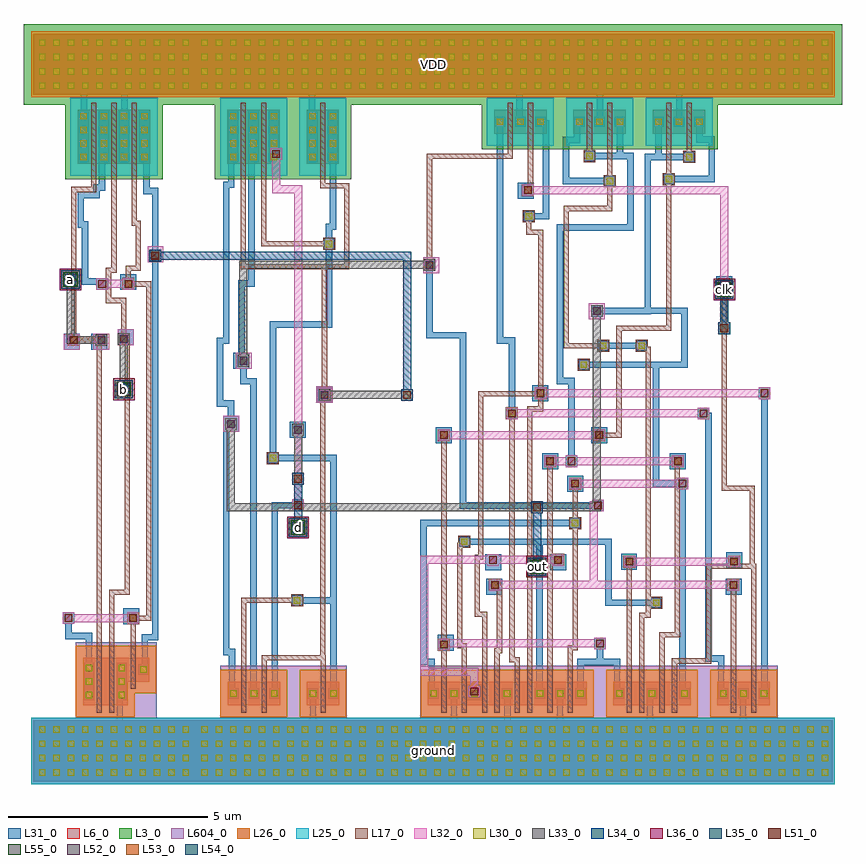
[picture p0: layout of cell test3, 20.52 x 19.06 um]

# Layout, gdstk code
import gdstk
lib = gdstk.Library(unit=1e-6, precision=1e-09)
def R(c, l, rs):  # rectangles x0, y0, x1, y1
    for r in rs: c.add(gdstk.rectangle(r[:2], r[2:], *l))
def A(c, l, x, y, w, h, nx, ny, dx, dy):  # array of equal rectangles
    R(c, l, [(x+i*dx, y+j*dy, x+i*dx+w, y+j*dy+h) for i in range(nx) for j in range(ny)])
def P(c, l, *ps):  # polygons
    for p in ps: c.add(gdstk.Polygon(p, *l))
L3_0 = (3, 0)
L6_0 = (6, 0)
L17_0 = (17, 0)
L25_0 = (25, 0)
L26_0 = (26, 0)
L30_0 = (30, 0)
L31_0 = (31, 0)
L32_0 = (32, 0)
L33_0 = (33, 0)
L34_0 = (34, 0)
L35_0 = (35, 0)
L36_0 = (36, 0)
L51_0 = (51, 0)
L52_0 = (52, 0)
L53_0 = (53, 0)
L54_0 = (54, 0)
L55_0 = (55, 0)
L604_0 = (604, 0)

m2m3 = lib.new_cell('M2M3')
R(m2m3, L32_0, [(-0.145,-0.145,0.145,0.145)])
R(m2m3, L33_0, [(-0.145,-0.145,0.145,0.145)])
R(m2m3, L52_0, [(-0.095,-0.095,0.095,0.095)])

m1m2 = lib.new_cell('M1M2')
R(m1m2, L31_0, [(-0.145,-0.145,0.145,0.145)])
R(m1m2, L32_0, [(-0.145,-0.145,0.145,0.145)])
R(m1m2, L51_0, [(-0.095,-0.095,0.095,0.095)])

poly_m1 = lib.new_cell('POLY_M1')
R(poly_m1, L17_0, [(-0.15,-0.15,0.15,0.15)])
R(poly_m1, L30_0, [(-0.08,-0.08,0.08,0.08)])
R(poly_m1, L31_0, [(-0.13,-0.13,0.13,0.13)])

mux21 = lib.new_cell('Mux21')
R(mux21, L3_0, [(-1.815,108.335,1.605,110.465), (-2.605,110.205,2.415,112.225)])
R(mux21, L6_0, [(-2.365,93.225,2.175,94.765), (-1.495,95.135,-0.175,95.735), (0.495,95.135,1.305,95.735), (-1.505,108.725,-0.185,110.075), (0.485,108.725,1.295,110.075), (-2.365,110.445,2.175,111.985)])
R(mux21, L17_0, [(-1.155,94.955,-1.025,95.135), (-0.645,94.955,-0.515,95.135), (0.835,94.955,0.965,95.135), (-1.155,95.135,-1.025,95.735), (-0.645,95.135,-0.515,95.735), (0.835,95.135,0.965,95.735), (-1.155,95.735,-1.025,95.915), (-0.645,95.735,-0.515,95.915), (0.835,95.735,0.965,95.915), (0.835,95.785,0.965,96.4), (0.825,96.27,0.965,96.4), (0.825,96.27,0.955,102.99), (0.87,102.86,1,106.2), (0.87,106.07,1.56,106.2), (-1.165,108.545,-1.035,108.725), (-0.655,108.545,-0.525,108.725), (0.825,108.545,0.955,108.725), (-1.165,108.725,-1.035,110.075), (-0.655,108.725,-0.525,110.075), (0.825,108.725,0.955,110.075), (-1.165,110.075,-1.035,110.255), (-0.655,110.075,-0.525,110.255), (0.825,110.075,0.955,110.255)])
P(mux21, L17_0, [(-1.155,95.785),(-1.025,95.785),(-1.025,97.705),(0.31,97.705),(0.31,97.835),(-1.155,97.835)],
  [(-0.655,106.645),(1.115,106.645),(1.115,106.775),(-0.525,106.775),(-0.525,108.675),(-0.655,108.675)],
  [(0.825,108.1),(1.43,108.1),(1.43,106.07),(1.56,106.07),(1.56,108.23),(0.955,108.23),(0.955,108.675),(0.825,108.675)],
  [(-0.645,95.785),(-0.515,95.785),(-0.515,96.27),(0.955,96.27),(0.955,96.4),(-0.645,96.4)],
  [(-1.165,106.07),(1,106.07),(1,106.2),(-1.035,106.2),(-1.035,108.675),(-1.165,108.675)])
R(mux21, L25_0, [(-2.425,93.165,2.235,94.825), (-1.685,108.425,-0.005,110.375), (0.305,108.425,1.475,110.375)])
R(mux21, L26_0, [(-1.675,94.835,0.005,96.035), (0.315,94.835,1.485,96.035), (-2.425,110.385,2.235,112.045)])
A(mux21, L30_0, -2.155, 93.375, 0.16, 0.16, 12, 4, 0.36, 0.36)
A(mux21, L30_0, -1.425, 95.355, 0.16, 0.16, 3, 1, 0.51, 0)
A(mux21, L30_0, -1.435, 108.81, 0.16, 0.16, 3, 4, 0.51, 0.34)
A(mux21, L30_0, 0.555, 108.81, 0.16, 0.16, 1, 4, 0, 0.34)
A(mux21, L30_0, 1.065, 108.81, 0.16, 0.16, 1, 4, 0, 0.34)
A(mux21, L30_0, -2.155, 110.595, 0.16, 0.16, 12, 4, 0.36, 0.36)
R(mux21, L30_0, [(0.565,95.355,0.725,95.515), (1.075,95.355,1.235,95.515)])
A(mux21, L31_0, -1.475, 95.305, 0.26, 0.26, 3, 1, 0.51, 0)
A(mux21, L31_0, -1.485, 108.76, 0.26, 1.28, 3, 1, 0.51, 0)
R(mux21, L31_0, [(-2.345,93.245,2.155,94.745), (-2.345,93.245,2.155,94.745), (0.57,94.585,0.73,95.465), (0.515,95.305,0.775,95.565), (1.025,95.305,1.285,95.565), (1.075,95.405,1.235,97.85), (0.165,97.69,1.235,97.85), (0.065,101.85,0.465,102.25), (-1.61,102,-1.21,102.4), (0.725,102.73,1.125,103.13), (-1.35,103.585,-0.95,103.985), (0.505,108.76,0.765,110.04), (1.015,108.76,1.275,110.04), (-0.365,108.885,-0.2,109.045), (0.54,109.88,0.7,110.625), (-2.345,110.465,2.155,111.965), (-2.345,110.465,2.155,111.965)])
P(mux21, L31_0, [(0.97,106.63),(1.13,106.63),(1.13,107.06),(1.225,107.06),(1.225,108.92),(1.065,108.92),(1.065,107.22),(0.97,107.22)],
  [(-0.44,101.26),(-0.28,101.26),(-0.28,104.605),(1.13,104.605),(1.13,106.79),(0.97,106.79),(0.97,104.765),(-0.44,104.765)],
  [(-1.18,103.185),(-0.93,103.185),(-0.93,95.405),(-0.77,95.405),(-0.77,103.345),(-1.02,103.345),(-1.02,103.86),(-1.18,103.86)],
  [(-1.23,103.825),(-1.07,103.825),(-1.07,105.635),(-0.815,105.635),(-0.815,108.92),(-0.975,108.92),(-0.975,105.795),(-1.23,105.795)],
  [(-0.44,101.26),(1.075,101.26),(1.075,97.69),(1.235,97.69),(1.235,101.42),(-0.44,101.42)],
  [(-1.61,96.4),(-1.465,96.4),(-1.465,95.405),(-1.305,95.405),(-1.305,96.56),(-1.45,96.56),(-1.45,102.16),(-1.61,102.16)],
  [(-1.765,102.63),(-1.49,102.63),(-1.49,102.24),(-1.33,102.24),(-1.33,102.79),(-1.605,102.79),(-1.605,104.2),(-1.45,104.2),(-1.45,108.115),(-1.325,108.115),(-1.325,108.92),(-1.485,108.92),(-1.485,108.275),(-1.61,108.275),(-1.61,104.36),(-1.765,104.36)],
  [(-0.395,95.405),(-0.235,95.405),(-0.235,100.075),(0.35,100.075),(0.35,100.235),(-0.395,100.235)])
R(mux21, L32_0, [(-1.61,102.005,-1.21,102.405), (0.735,102.73,1.135,103.13), (-1.29,103.58,-0.89,103.98)])
P(mux21, L32_0, [(-0.38,107.975),(0.17,107.975),(0.17,100.055),(0.37,100.055),(0.37,108.175),(-0.18,108.175),(-0.18,109.065),(-0.38,109.065)])
R(mux21, L33_0, [(0.17,101.965,0.37,102.165), (-1.515,102.095,-1.315,102.295), (0.835,102.825,1.035,103.025), (-1.2,103.68,-1,103.88)])
R(mux21, L604_0, [(-2.425,93.165,2.235,94.825), (-1.685,94.745,1.495,96.125), (0.73,102.735,1.13,103.135)])
mux21.add(gdstk.Reference(m2m3, (0.935,102.925)))
mux21.add(gdstk.Reference(m1m2, (-1.415,102.19)))
mux21.add(gdstk.Reference(m1m2, (-1.1,103.78)))
mux21.add(gdstk.Reference(m2m3, (-1.1,103.78)))
mux21.add(gdstk.Reference(poly_m1, (-0.36,101.34)))
mux21.add(gdstk.Reference(m1m2, (0.27,100.155)))
mux21.add(gdstk.Reference(m2m3, (0.27,102.05)))
mux21.add(gdstk.Reference(poly_m1, (0.245,97.77)))
mux21.add(gdstk.Reference(poly_m1, (0.935,102.925)))
mux21.add(gdstk.Reference(m1m2, (0.935,102.925)))
mux21.add(gdstk.Reference(m1m2, (0.27,102.05)))
mux21.add(gdstk.Reference(m2m3, (0.27,102.05)))
mux21.add(gdstk.Reference(m1m2, (-0.28,108.965)))
mux21.add(gdstk.Reference(poly_m1, (1.05,106.71)))
mux21.add(gdstk.Reference(m2m3, (-1.415,102.19)))
mux21.add(gdstk.Label('/M6', (-1.09,95.435), layer=17, texttype=0))
mux21.add(gdstk.Label('/M5', (-0.58,95.435), layer=17, texttype=0))
mux21.add(gdstk.Label('/M1', (0.9,95.435), layer=17, texttype=0))
mux21.add(gdstk.Label('/M3', (-1.1,109.4), layer=17, texttype=0))
mux21.add(gdstk.Label('/M4', (-0.59,109.4), layer=17, texttype=0))
mux21.add(gdstk.Label('/M2', (0.89,109.4), layer=17, texttype=0))
mux21.add(gdstk.Label('Y', (-1.1,103.78), layer=133, texttype=0))
mux21.add(gdstk.Label('A', (-1.415,102.195), layer=133, texttype=0))
mux21.add(gdstk.Label('B', (0.27,102.065), layer=133, texttype=0))
mux21.add(gdstk.Label('S', (0.935,102.925), layer=133, texttype=0))
mux21.add(gdstk.Label('VDD', (-0.095,111.215), layer=131, texttype=0))
mux21.add(gdstk.Label('ground', (-0.095,93.995), layer=131, texttype=0))

dff = lib.new_cell('DFF')
R(dff, L3_0, [(-1.725,103.125,4.195,104.505), (-4.705,104.245,7.315,106.265)])
A(dff, L6_0, -1.415, 103.515, 1.32, 0.6, 3, 1, 1.99, 0)
R(dff, L6_0, [(-4.465,87.265,7.075,88.805), (-3.075,89.175,0.905,89.775), (1.575,89.175,3.515,89.775), (4.185,89.175,5.505,89.775), (-4.465,104.485,7.075,106.025)])
A(dff, L17_0, -2.735, 88.995, 0.13, 0.18, 3, 2, 0.51, 0.78)
A(dff, L17_0, -0.585, 88.995, 0.13, 0.18, 3, 2, 0.51, 0.78)
A(dff, L17_0, -2.735, 89.175, 0.13, 0.6, 3, 1, 0.51, 0)
A(dff, L17_0, -0.585, 89.175, 0.13, 0.6, 3, 1, 0.51, 0)
R(dff, L17_0, [(-1.405,88.995,-1.275,89.175), (-0.895,88.995,-0.765,89.175), (1.915,88.995,2.045,89.175), (2.225,88.995,2.355,89.175), (2.735,88.995,2.865,89.175), (3.045,88.995,3.175,89.175), (4.525,88.995,4.655,89.175), (5.035,88.995,5.165,89.175), (-1.405,89.175,-1.275,89.775), (-0.895,89.175,-0.765,89.775), (1.915,89.175,2.045,89.775), (2.225,89.175,2.355,89.775), (2.735,89.175,2.865,89.775), (3.045,89.175,3.175,89.775), (4.525,89.175,4.655,89.775), (5.035,89.175,5.165,89.775), (-1.405,89.775,-1.275,89.955), (-0.895,89.775,-0.765,89.955), (1.915,89.775,2.045,89.955), (2.225,89.775,2.355,89.955), (2.735,89.775,2.865,89.955), (3.045,89.775,3.175,89.955), (4.525,89.775,4.655,89.955), (5.035,89.775,5.165,89.955), (-2.735,89.825,-2.605,90.765), (-0.075,89.825,0.055,90.335), (1.915,89.825,2.045,92.845), (4.525,89.825,4.655,92.265), (-0.075,90.205,0.055,95.365), (-2.735,90.635,-2.605,96.02), (3.115,90.885,3.26,91.015), (0.555,93.685,0.685,94.805), (3.13,95.235,3.29,95.365), (1.16,95.89,1.785,96.02), (1.425,102.26,1.555,103.465), (2.905,102.31,3.035,103.465), (3.415,102.865,3.545,103.465), (0.915,102.885,1.045,103.465), (-1.075,103.335,-0.945,103.515), (-0.565,103.335,-0.435,103.515), (0.915,103.335,1.045,103.515), (1.425,103.335,1.555,103.515), (2.905,103.335,3.035,103.515), (3.415,103.335,3.545,103.515), (-1.075,103.515,-0.945,104.115), (-0.565,103.515,-0.435,104.115), (0.915,103.515,1.045,104.115), (1.425,103.515,1.555,104.115), (2.905,103.515,3.035,104.115), (3.415,103.515,3.545,104.115), (-1.075,104.115,-0.945,104.295), (-0.565,104.115,-0.435,104.295), (0.915,104.115,1.045,104.295), (1.425,104.115,1.555,104.295), (2.905,104.115,3.035,104.295), (3.415,104.115,3.545,104.295)])
P(dff, L17_0, [(1.655,95.89),(1.785,95.89),(1.785,98.57),(3.035,98.57),(3.035,102.44),(2.905,102.44),(2.905,98.7),(1.655,98.7)],
  [(0.33,98.13),(1.385,98.13),(1.385,98.26),(0.46,98.26),(0.46,101.575),(1.555,101.575),(1.555,102.39),(1.425,102.39),(1.425,101.705),(0.33,101.705)],
  [(4.295,94.56),(5,94.56),(5,92.6),(5.13,92.6),(5.13,94.69),(4.425,94.69),(4.425,99.8),(4.295,99.8)],
  [(3.115,90.885),(3.245,90.885),(3.245,95.235),(3.26,95.235),(3.26,95.365),(3.115,95.365)],
  [(-3.1,100.16),(-2.97,100.16),(-2.97,102.88),(-0.945,102.88),(-0.945,103.465),(-1.075,103.465),(-1.075,103.01),(-3.1,103.01)],
  [(-0.63,102.035),(-0.435,102.035),(-0.435,103.465),(-0.565,103.465),(-0.565,102.165),(-0.63,102.165)],
  [(-0.585,89.825),(-0.455,89.825),(-0.455,96.545),(-0.18,96.545),(-0.18,96.675),(-0.585,96.675)],
  [(-1.46,92.05),(-1.34,92.05),(-1.34,90.61),(-1.405,90.61),(-1.405,89.825),(-1.275,89.825),(-1.275,90.48),(-1.21,90.48),(-1.21,92.18),(-1.46,92.18)],
  [(-1.03,90.255),(-0.895,90.255),(-0.895,89.825),(-0.765,89.825),(-0.765,90.385),(-0.9,90.385),(-0.9,96.565),(-1.03,96.565)],
  [(2.735,89.825),(2.865,89.825),(2.865,90.885),(3.245,90.885),(3.245,91.015),(2.735,91.015)],
  [(-2.34,90.61),(-2.225,90.61),(-2.225,89.825),(-2.095,89.825),(-2.095,90.74),(-2.21,90.74),(-2.21,93.13),(-2.095,93.13),(-2.095,93.26),(-2.34,93.26)],
  [(0.435,89.825),(0.565,89.825),(0.565,90.56),(0.685,90.56),(0.685,93.815),(0.555,93.815),(0.555,90.69),(0.435,90.69)],
  [(3.045,89.825),(3.175,89.825),(3.175,90.225),(4.035,90.225),(4.035,92.6),(5.035,92.6),(5.035,89.825),(5.165,89.825),(5.165,92.73),(3.905,92.73),(3.905,90.355),(3.045,90.355)],
  [(2.225,89.825),(2.355,89.825),(2.355,91.37),(2.52,91.37),(2.52,98.175),(2.225,98.175),(2.225,98.045),(2.39,98.045),(2.39,91.5),(2.225,91.5)],
  [(-0.605,100.975),(-0.31,100.975),(-0.31,96.545),(-0.18,96.545),(-0.18,101.105),(-0.475,101.105),(-0.475,101.51),(-0.605,101.51)],
  [(-1.9,91.395),(-1.715,91.395),(-1.715,89.825),(-1.585,89.825),(-1.585,91.525),(-1.77,91.525),(-1.77,92.825),(-1.685,92.825),(-1.685,96.925),(-0.18,96.925),(-0.18,97.055),(-1.815,97.055),(-1.815,92.955),(-1.9,92.955)])
A(dff, L25_0, -1.595, 103.215, 1.68, 1.2, 3, 1, 1.99, 0)
R(dff, L25_0, [(-4.525,87.205,7.135,88.865)])
R(dff, L26_0, [(-3.255,88.875,1.085,90.075), (1.395,88.875,3.695,90.075), (4.005,88.875,5.685,90.075), (-4.525,104.425,7.135,106.085)])
A(dff, L30_0, -4.355, 87.415, 0.16, 0.16, 32, 4, 0.36, 0.36)
A(dff, L30_0, -3.005, 89.395, 0.16, 0.16, 3, 1, 0.51, 0)
A(dff, L30_0, -0.345, 89.395, 0.16, 0.16, 3, 1, 0.51, 0)
A(dff, L30_0, 1.645, 89.395, 0.16, 0.16, 3, 1, 0.82, 0)
A(dff, L30_0, 4.255, 89.395, 0.16, 0.16, 3, 1, 0.51, 0)
A(dff, L30_0, -1.345, 103.735, 0.16, 0.16, 3, 1, 0.51, 0)
A(dff, L30_0, 0.645, 103.735, 0.16, 0.16, 3, 1, 0.51, 0)
A(dff, L30_0, 2.635, 103.735, 0.16, 0.16, 3, 1, 0.51, 0)
A(dff, L30_0, -4.355, 104.635, 0.16, 0.16, 32, 4, 0.36, 0.36)
R(dff, L30_0, [(-1.165,89.395,-1.005,89.555)])
A(dff, L31_0, -3.055, 89.345, 0.26, 0.26, 3, 1, 0.51, 0)
A(dff, L31_0, -0.395, 89.345, 0.26, 0.26, 3, 1, 0.51, 0)
A(dff, L31_0, 1.595, 89.345, 0.26, 0.26, 3, 1, 0.82, 0)
A(dff, L31_0, 4.205, 89.345, 0.26, 0.26, 3, 1, 0.51, 0)
A(dff, L31_0, -1.395, 103.685, 0.26, 0.26, 3, 1, 0.51, 0)
A(dff, L31_0, 0.595, 103.685, 0.26, 0.26, 3, 1, 0.51, 0)
A(dff, L31_0, 2.585, 103.685, 0.26, 0.26, 3, 1, 0.51, 0)
R(dff, L31_0, [(-4.445,87.285,7.055,88.785), (-4.445,87.285,7.055,88.785), (-2.495,88.625,-2.335,89.505), (-1.16,88.625,-1,89.505), (0.16,88.625,0.32,89.505), (2.415,88.625,2.575,89.505), (4.75,88.625,4.91,89.505), (-2.105,89.305,-1.705,89.705), (-1.215,89.345,-0.955,89.605), (-1.99,89.445,-1.83,89.61), (-0.35,89.445,-0.19,93.36), (5.285,89.445,5.445,97.085), (1.165,90.185,1.325,90.81), (-2.825,90.545,-2.425,90.945), (-1.605,91.955,-1.205,92.355), (4.395,91.955,4.795,92.355), (-1.635,92.57,-1.235,92.97), (-0.005,92.57,0.395,92.97), (1.77,92.58,2.17,92.98), (4.405,92.62,4.805,93.02), (-2.24,93.2,-0.19,93.36), (0.42,94.535,0.82,94.935), (-0.21,95.1,0.19,95.5), (2.99,95.1,3.39,95.5), (-2.875,95.75,-2.475,96.15), (1.02,95.75,1.42,96.15), (-0.455,96.8,-0.055,97.2), (0.755,97.64,2.73,97.8), (1.24,98.115,2.37,98.275), (4.155,99.535,4.555,99.935), (-0.815,101.885,-0.415,102.285), (0.315,102.245,1.57,102.405), (2.635,102.85,3.56,103.01), (2.635,102.85,2.795,103.02), (2.635,102.86,2.795,103.845), (0.9,102.87,1.825,103.03), (1.665,102.87,1.825,103.845), (-0.86,103.785,-0.7,104.665), (1.16,103.785,1.32,104.665), (3.15,103.785,3.31,104.665), (-4.445,104.505,7.055,106.005), (-4.445,104.505,7.055,106.005)])
P(dff, L31_0, [(1.085,98.985),(2.52,98.985),(2.52,99.155),(2.36,99.155),(2.36,99.145),(1.085,99.145)],
  [(2.36,98.995),(2.52,98.995),(2.52,102.85),(2.795,102.85),(2.795,103.01),(2.36,103.01)],
  [(2.57,94.66),(3.235,94.66),(3.235,89.445),(3.395,89.445),(3.395,94.82),(2.73,94.82),(2.73,97.8),(2.57,97.8)],
  [(3.755,96.355),(3.88,96.355),(3.88,90.275),(4.205,90.275),(4.205,89.445),(4.365,89.445),(4.365,90.435),(4.04,90.435),(4.04,96.515),(3.755,96.515)],
  [(0.315,102.245),(0.475,102.245),(0.475,103.275),(0.745,103.275),(0.745,103.685),(0.755,103.685),(0.755,103.845),(0.585,103.845),(0.585,103.435),(0.315,103.435)],
  [(-3.265,90.19),(-3.055,90.19),(-3.055,89.445),(-2.895,89.445),(-2.895,90.35),(-3.105,90.35),(-3.105,93.67),(0.7,93.67),(0.7,93.83),(-3.265,93.83)],
  [(-0.35,93.2),(1.375,93.2),(1.375,91.67),(2.735,91.67),(2.735,91.83),(1.535,91.83),(1.535,93.36),(-0.35,93.36)],
  [(0.16,97.23),(0.445,97.23),(0.445,95.22),(0.605,95.22),(0.605,97.39),(0.32,97.39),(0.32,101.085),(2.085,101.085),(2.085,103.03),(1.665,103.03),(1.665,102.87),(1.925,102.87),(1.925,101.245),(0.16,101.245)],
  [(-1.345,98.25),(-1.045,98.25),(-1.045,96.42),(-0.885,96.42),(-0.885,98.41),(-1.185,98.41),(-1.185,103.845),(-1.345,103.845)],
  [(-3.115,98.38),(-2.27,98.38),(-2.27,94.11),(1.275,94.11),(1.275,94.27),(-2.11,94.27),(-2.11,98.54),(-2.955,98.54),(-2.955,100.305),(-3.115,100.305)],
  [(2.89,102.295),(4.125,102.295),(4.125,103.445),(3.815,103.445),(3.815,103.845),(3.655,103.845),(3.655,103.285),(3.965,103.285),(3.965,102.455),(2.89,102.455)],
  [(0.675,89.445),(0.835,89.445),(0.835,90.185),(1.325,90.185),(1.325,90.345),(0.675,90.345)],
  [(-0.62,101.365),(-0.03,101.365),(-0.03,103.845),(-0.275,103.845),(-0.275,103.685),(-0.19,103.685),(-0.19,101.525),(-0.62,101.525)],
  [(1.165,90.185),(1.595,90.185),(1.595,89.445),(1.755,89.445),(1.755,90.345),(1.165,90.345)],
  [(2.36,98.995),(3.285,98.995),(3.285,97.8),(2.57,97.8),(2.57,97.64),(3.445,97.64),(3.445,99.155),(2.36,99.155)])
R(dff, L32_0, [(-1.495,92.1,1.185,92.3), (0.985,92.1,4.69,92.3), (1.88,92.68,4.705,92.88), (0.52,94.64,3.415,94.84), (-0.11,95.2,0.625,95.4), (0.425,95.2,3.295,95.4), (-2.77,95.855,1.325,96.055), (-1.065,96.4,3.935,96.6), (-0.345,96.905,5.465,97.105), (0.965,98.86,1.365,99.26), (-3.19,100.02,-2.79,100.42)])
P(dff, L32_0, [(-0.665,102),(4.26,102),(4.26,99.635),(4.46,99.635),(4.46,102.2),(-0.665,102.2)],
  [(-3.26,89.915),(-2.01,89.915),(-2.01,89.43),(-1.81,89.43),(-1.81,90.115),(-3.06,90.115),(-3.06,92.725),(0.295,92.725),(0.295,92.925),(-3.26,92.925)],
  [(0.985,92.1),(1.185,92.1),(1.185,94.09),(1.295,94.09),(1.295,94.29),(0.985,94.29)],
  [(-2.77,90.6),(-2.57,90.6),(-2.57,90.63),(1.345,90.63),(1.345,90.83),(-2.77,90.83)])
R(dff, L33_0, [(1.065,98.965,1.265,99.165), (4.26,99.635,4.46,99.835), (-3.135,100.125,-2.935,100.325)])
R(dff, L604_0, [(-4.525,87.205,7.135,88.865), (-3.265,88.785,5.695,90.165)])
dff.add(gdstk.Reference(m2m3, (-3.035,100.225)))
dff.add(gdstk.Reference(poly_m1, (-0.54,101.445)))
dff.add(gdstk.Reference(poly_m1, (-0.965,96.5)))
dff.add(gdstk.Reference(m1m2, (-0.965,96.5)))
dff.add(gdstk.Reference(m1m2, (3.835,96.5)))
dff.add(gdstk.Reference(poly_m1, (0.98,102.95)))
dff.add(gdstk.Reference(poly_m1, (3.48,102.93)))
dff.add(gdstk.Reference(poly_m1, (2.97,102.375)))
dff.add(gdstk.Reference(poly_m1, (1.49,102.325)))
dff.add(gdstk.Reference(m1m2, (1.165,99.065)))
dff.add(gdstk.Reference(m2m3, (1.165,99.065)))
dff.add(gdstk.Reference(poly_m1, (-0.245,97.005)))
dff.add(gdstk.Reference(m1m2, (5.365,97.005)))
dff.add(gdstk.Reference(m1m2, (-0.245,97.005)))
dff.add(gdstk.Reference(poly_m1, (4.36,99.735)))
dff.add(gdstk.Reference(poly_m1, (3.195,95.3)))
dff.add(gdstk.Reference(m1m2, (3.195,95.3)))
dff.add(gdstk.Reference(m1m2, (3.315,94.74)))
dff.add(gdstk.Reference(poly_m1, (0.62,94.74)))
dff.add(gdstk.Reference(m1m2, (1.245,90.73)))
dff.add(gdstk.Reference(m1m2, (4.36,99.735)))
dff.add(gdstk.Reference(m2m3, (4.36,99.735)))
dff.add(gdstk.Reference(poly_m1, (0.835,97.72)))
dff.add(gdstk.Reference(poly_m1, (2.29,98.195)))
dff.add(gdstk.Reference(poly_m1, (1.32,98.195)))
dff.add(gdstk.Reference(m1m2, (-0.565,102.1)))
dff.add(gdstk.Reference(m1m2, (0.62,94.74)))
dff.add(gdstk.Reference(poly_m1, (-0.565,102.1)))
dff.add(gdstk.Reference(poly_m1, (-3.035,100.225)))
dff.add(gdstk.Reference(m1m2, (-3.035,100.225)))
dff.add(gdstk.Reference(poly_m1, (0.195,92.825)))
dff.add(gdstk.Reference(m1m2, (0.195,92.825)))
dff.add(gdstk.Reference(m1m2, (-1.91,89.53)))
dff.add(gdstk.Reference(m1m2, (1.195,94.19)))
dff.add(gdstk.Reference(m1m2, (0.525,95.3)))
dff.add(gdstk.Reference(poly_m1, (1.225,95.955)))
dff.add(gdstk.Reference(m1m2, (1.225,95.955)))
dff.add(gdstk.Reference(poly_m1, (-2.67,95.955)))
dff.add(gdstk.Reference(m1m2, (-2.67,95.955)))
dff.add(gdstk.Reference(poly_m1, (4.59,92.2)))
dff.add(gdstk.Reference(m1m2, (4.59,92.2)))
dff.add(gdstk.Reference(poly_m1, (-1.395,92.2)))
dff.add(gdstk.Reference(m1m2, (-1.395,92.2)))
dff.add(gdstk.Reference(m1m2, (-0.01,95.3)))
dff.add(gdstk.Reference(poly_m1, (-0.01,95.3)))
dff.add(gdstk.Reference(poly_m1, (-2.67,90.7)))
dff.add(gdstk.Reference(m1m2, (-2.67,90.7)))
dff.add(gdstk.Reference(poly_m1, (1.98,92.78)))
dff.add(gdstk.Reference(m1m2, (1.98,92.78)))
dff.add(gdstk.Reference(poly_m1, (4.605,92.78)))
dff.add(gdstk.Reference(m1m2, (4.605,92.78)))
dff.add(gdstk.Reference(poly_m1, (2.655,91.75)))
dff.add(gdstk.Reference(poly_m1, (0.62,93.75)))
dff.add(gdstk.Reference(poly_m1, (-2.16,93.28)))
dff.add(gdstk.Reference(m1m2, (-1.435,92.825)))
dff.add(gdstk.Label('/M16', (-1.01,103.815), layer=17, texttype=0))
dff.add(gdstk.Label('/M15', (-0.5,103.815), layer=17, texttype=0))
dff.add(gdstk.Label('/M18', (0.98,103.815), layer=17, texttype=0))
dff.add(gdstk.Label('/M17', (1.49,103.815), layer=17, texttype=0))
dff.add(gdstk.Label('/M19', (2.97,103.815), layer=17, texttype=0))
dff.add(gdstk.Label('/M20', (3.48,103.815), layer=17, texttype=0))
dff.add(gdstk.Label('/M9', (-2.67,89.475), layer=17, texttype=0))
dff.add(gdstk.Label('/M4', (-2.16,89.475), layer=17, texttype=0))
dff.add(gdstk.Label('/M12', (-1.65,89.475), layer=17, texttype=0))
dff.add(gdstk.Label('/M6', (-1.34,89.475), layer=17, texttype=0))
dff.add(gdstk.Label('/M3', (-0.83,89.475), layer=17, texttype=0))
dff.add(gdstk.Label('/M11', (-0.52,89.475), layer=17, texttype=0))
dff.add(gdstk.Label('/M5', (-0.01,89.475), layer=17, texttype=0))
dff.add(gdstk.Label('/M8', (0.5,89.475), layer=17, texttype=0))
dff.add(gdstk.Label('/M13', (1.98,89.475), layer=17, texttype=0))
dff.add(gdstk.Label('/M10', (2.29,89.475), layer=17, texttype=0))
dff.add(gdstk.Label('/M7', (2.8,89.475), layer=17, texttype=0))
dff.add(gdstk.Label('/M14', (3.11,89.475), layer=17, texttype=0))
dff.add(gdstk.Label('/M2', (4.59,89.475), layer=17, texttype=0))
dff.add(gdstk.Label('/M1', (5.1,89.475), layer=17, texttype=0))
dff.add(gdstk.Label('CLK', (4.36,99.735), layer=133, texttype=0))
dff.add(gdstk.Label('Q', (1.165,99.065), layer=133, texttype=0))
dff.add(gdstk.Label('D', (-3.035,100.225), layer=133, texttype=0))
dff.add(gdstk.Label('VDD', (1.305,105.255), layer=131, texttype=0))
dff.add(gdstk.Label('ground', (1.305,88.035), layer=131, texttype=0))

m3m4 = lib.new_cell('M3M4')
R(m3m4, L33_0, [(-0.145,-0.145,0.145,0.145)])
R(m3m4, L34_0, [(-0.145,-0.145,0.145,0.145)])
R(m3m4, L53_0, [(-0.095,-0.095,0.095,0.095)])

dffen = lib.new_cell('DFFen')
R(dffen, L31_0, [(-1.465,51.815,14.535,53.315), (-1.465,69.035,14.535,70.535)])
R(dffen, L33_0, [(1.05,59.29,1.25,60.735), (1.715,61.395,3.985,61.595), (11.74,63.065,11.94,64.365)])
P(dffen, L33_0, [(-0.32,62.25),(-0.12,62.25),(-0.12,64.655),(4.545,64.655),(4.545,64.855),(-0.32,64.855)],
  [(-0.635,58.575),(8.745,58.575),(8.745,63.695),(8.545,63.695),(8.545,58.775),(-0.435,58.775),(-0.435,60.865),(-0.635,60.865)])
R(dffen, L34_0, [(7.045,58.575,7.245,58.775), (1.05,59.29,1.25,59.49), (3.785,61.395,3.985,61.595), (11.74,63.065,11.94,63.265)])
dffen.add(gdstk.Reference(mux21, (0.88,-41.43)))
dffen.add(gdstk.Reference(dff, (7.48,-35.47)))
dffen.add(gdstk.Reference(m3m4, (3.885,61.495)))
dffen.add(gdstk.Reference(m3m4, (1.15,59.39)))
dffen.add(gdstk.Reference(m3m4, (7.145,58.675)))
dffen.add(gdstk.Reference(m3m4, (11.84,63.165)))
dffen.add(gdstk.Label('ground', (6.535,52.565), layer=131, texttype=0))
dffen.add(gdstk.Label('VDD', (6.535,69.785), layer=131, texttype=0))
dffen.add(gdstk.Label('Q', (7.145,58.675), layer=134, texttype=0))
dffen.add(gdstk.Label('D', (1.15,59.39), layer=134, texttype=0))
dffen.add(gdstk.Label('CLK', (11.84,63.165), layer=134, texttype=0))
dffen.add(gdstk.Label('En', (3.885,61.495), layer=134, texttype=0))

and_ = lib.new_cell('and')
R(and_, L3_0, [(24.095,109.78,26.545,111.91), (23.06,111.65,27.58,113.67)])
R(and_, L6_0, [(23.3,94.67,27.34,96.21), (24.405,110.17,26.235,111.52), (23.3,111.89,27.34,113.43)])
P(and_, L6_0, [(26.205,97.78),(26.205,97.18),(25.665,97.18),(25.665,96.58),(24.545,96.58),(24.545,97.78)])
A(and_, L17_0, 24.745, 109.99, 0.13, 0.18, 3, 2, 0.51, 1.53)
A(and_, L17_0, 24.745, 110.17, 0.13, 1.35, 3, 1, 0.51, 0)
R(and_, L17_0, [(24.885,96.4,25.015,96.58), (25.195,96.4,25.325,96.58), (24.885,96.58,25.015,97.78), (25.195,96.58,25.325,97.78), (25.735,97,25.865,97.18), (25.735,97.18,25.865,97.78), (24.885,97.78,25.015,97.96), (25.195,97.78,25.325,97.96), (25.735,97.78,25.865,97.96), (24.885,97.83,25.015,105.81), (25.735,97.83,25.865,98.835), (24.21,105.645,25.105,105.845)])
P(and_, L17_0, [(25.615,107.085),(25.745,107.085),(25.745,107.48),(25.99,107.48),(25.99,108.74),(25.895,108.74),(25.895,110.12),(25.765,110.12),(25.765,108.61),(25.86,108.61),(25.86,107.61),(25.615,107.61)],
  [(25.195,97.83),(25.325,97.83),(25.325,99.35),(25.715,99.35),(25.715,105.83),(25.585,105.83),(25.585,99.48),(25.195,99.48)],
  [(24.245,105.68),(24.375,105.68),(24.375,109.455),(24.875,109.455),(24.875,110.12),(24.745,110.12),(24.745,109.585),(24.245,109.585)],
  [(25.115,106.67),(25.5,106.67),(25.5,105.7),(25.63,105.7),(25.63,106.8),(25.245,106.8),(25.245,107.43),(25.385,107.43),(25.385,110.12),(25.255,110.12),(25.255,107.56),(25.115,107.56)],
  [(25.615,107.085),(26.13,107.085),(26.13,98.835),(25.735,98.835),(25.735,98.705),(26.26,98.705),(26.26,107.215),(25.615,107.215)])
R(and_, L25_0, [(23.24,94.61,27.4,96.27), (24.225,109.87,26.415,111.82)])
R(and_, L26_0, [(23.24,111.83,27.4,113.49)])
P(and_, L26_0, [(26.385,98.08),(26.385,96.88),(25.845,96.88),(25.845,96.28),(24.365,96.28),(24.365,98.08)])
A(and_, L30_0, 23.44, 94.82, 0.16, 0.16, 11, 4, 0.36, 0.36)
A(and_, L30_0, 24.615, 96.76, 0.16, 0.16, 1, 3, 0, 0.34)
A(and_, L30_0, 25.435, 96.76, 0.16, 0.16, 1, 3, 0, 0.34)
A(and_, L30_0, 24.475, 110.255, 0.16, 0.16, 4, 4, 0.51, 0.34)
A(and_, L30_0, 23.44, 112.04, 0.16, 0.16, 11, 4, 0.36, 0.36)
R(and_, L30_0, [(25.975,97.4,26.135,97.56)])
A(and_, L31_0, 24.425, 110.205, 0.26, 1.28, 4, 1, 0.51, 0)
R(and_, L31_0, [(23.32,94.69,27.32,96.19), (23.32,94.69,27.32,96.19), (25.385,96.03,25.545,96.87), (24.565,96.71,24.825,97.65), (25.385,96.71,25.645,97.65), (25.925,97.35,26.185,97.61), (25.55,98.62,25.95,99.02), (24.06,105.5,24.46,105.9), (24.755,105.505,25.155,105.905), (25.41,105.615,25.81,106.015), (25.475,107,25.875,107.4), (24.485,111.325,24.645,112.07), (25.5,111.325,25.66,112.07), (23.32,111.91,27.32,113.41), (23.32,111.91,27.32,113.41)])
P(and_, L31_0, [(24.095,98.245),(24.615,98.245),(24.615,97.49),(24.775,97.49),(24.775,98.405),(24.255,98.405),(24.255,98.85),(24.095,98.85)],
  [(24.405,108.565),(24.51,108.565),(24.51,107.135),(25.105,107.135),(25.105,107.295),(24.67,107.295),(24.67,108.725),(24.565,108.725),(24.565,109.3),(24.96,109.3),(24.96,109.485),(25.095,109.485),(25.095,110.365),(24.935,110.365),(24.935,109.645),(24.8,109.645),(24.8,109.46),(24.405,109.46)],
  [(26.01,97.45),(26.17,97.45),(26.17,98.21),(26.435,98.21),(26.435,109.56),(26.215,109.56),(26.215,110.365),(26.055,110.365),(26.055,109.4),(26.275,109.4),(26.275,98.37),(26.01,98.37)])
R(and_, L32_0, [(24.075,98.67,25.9,98.87), (24.06,105.495,24.46,105.895), (24.8,105.505,25.2,105.905), (25.42,105.615,25.82,106.015), (24.925,107.05,25.78,107.25), (26.16,107.695,26.56,108.095)])
R(and_, L33_0, [(24.905,105.645,25.105,105.845), (25.465,105.645,25.665,105.845), (26.255,107.76,26.455,107.96)])
R(and_, L604_0, [(23.24,94.61,27.4,96.27), (24.355,96.19,26.395,98.17)])
and_.add(gdstk.Reference(m1m2, (25.025,107.15)))
and_.add(gdstk.Reference(poly_m1, (25.68,107.15)))
and_.add(gdstk.Reference(m1m2, (25.68,107.15)))
and_.add(gdstk.Reference(poly_m1, (25.565,105.765)))
and_.add(gdstk.Reference(m1m2, (25.565,105.765)))
and_.add(gdstk.Reference(m2m3, (25.565,105.765)))
and_.add(gdstk.Reference(poly_m1, (24.31,105.745)))
and_.add(gdstk.Reference(m1m2, (24.31,105.745)))
and_.add(gdstk.Reference(m2m3, (25.005,105.745)))
and_.add(gdstk.Reference(poly_m1, (25.8,98.77)))
and_.add(gdstk.Reference(m1m2, (25.8,98.77)))
and_.add(gdstk.Reference(m1m2, (26.355,107.85)))
and_.add(gdstk.Reference(m2m3, (26.355,107.85)))
and_.add(gdstk.Reference(m2m3, (25.005,105.745)))
and_.add(gdstk.Reference(m1m2, (25.005,105.745)))
and_.add(gdstk.Reference(m1m2, (24.175,98.77)))
and_.add(gdstk.Reference(poly_m1, (25.005,105.745)))
and_.add(gdstk.Label('/M3', (24.81,110.845), layer=17, texttype=0))
and_.add(gdstk.Label('/M4', (25.32,110.845), layer=17, texttype=0))
and_.add(gdstk.Label('/M5', (25.83,110.845), layer=17, texttype=0))
and_.add(gdstk.Label('/M1', (24.95,97.18), layer=17, texttype=0))
and_.add(gdstk.Label('/M2', (25.26,97.18), layer=17, texttype=0))
and_.add(gdstk.Label('/M6', (25.8,97.48), layer=17, texttype=0))
and_.add(gdstk.Label('A', (25.005,105.745), layer=133, texttype=0))
and_.add(gdstk.Label('B', (25.565,105.745), layer=133, texttype=0))
and_.add(gdstk.Label('Y', (26.355,107.86), layer=133, texttype=0))
and_.add(gdstk.Label('VDD', (25.32,112.66), layer=131, texttype=0))
and_.add(gdstk.Label('ground', (25.32,95.44), layer=131, texttype=0))

m4m5 = lib.new_cell('M4M5')
R(m4m5, L34_0, [(-0.145,-0.145,0.145,0.145)])
R(m4m5, L35_0, [(-0.145,-0.145,0.145,0.145)])
R(m4m5, L54_0, [(-0.095,-0.095,0.095,0.095)])

m5m6 = lib.new_cell('M5M6')
R(m5m6, L35_0, [(-0.23,-0.23,0.23,0.23)])
R(m5m6, L36_0, [(-0.27,-0.27,0.27,0.27)])
R(m5m6, L55_0, [(-0.18,-0.18,0.18,0.18)])

test3 = lib.new_cell('test3')
R(test3, L31_0, [(-1.465,51.815,18.535,53.315), (-1.465,69.035,18.535,70.535)])
R(test3, L33_0, [(0.68,61.535,0.88,62.97)])
P(test3, L33_0, [(-0.655,62.77),(0.32,62.77),(0.32,62.97),(-0.455,62.97),(-0.455,64.485),(-0.655,64.485)])
R(test3, L34_0, [(11.045,57.085,11.245,58.775), (5.05,58.065,5.25,59.49), (15.74,63.065,15.94,64.24)])
P(test3, L34_0, [(1.47,64.885),(7.785,64.885),(7.785,61.395),(7.985,61.395),(7.985,65.085),(1.47,65.085)])
R(test3, L36_0, [(11.045,57.085,11.245,57.285), (5.05,58.065,5.25,58.265), (0.68,61.535,0.88,61.735), (15.745,64.04,15.945,64.24), (-0.635,64.305,-0.475,64.465)])
test3.add(gdstk.Reference(dffen, (4,0)))
test3.add(gdstk.Reference(and_, (-24.785,-42.875)))
test3.add(gdstk.Reference(m3m4, (-0.555,64.385)))
test3.add(gdstk.Reference(m4m5, (-0.555,64.385)))
test3.add(gdstk.Reference(m5m6, (-0.555,64.385)))
test3.add(gdstk.Reference(m3m4, (0.78,61.635)))
test3.add(gdstk.Reference(m4m5, (0.78,61.635)))
test3.add(gdstk.Reference(m5m6, (0.78,61.635)))
test3.add(gdstk.Reference(m3m4, (1.57,64.985)))
test3.add(gdstk.Reference(m4m5, (5.15,58.165)))
test3.add(gdstk.Reference(m5m6, (5.15,58.165)))
test3.add(gdstk.Reference(m4m5, (11.145,57.185)))
test3.add(gdstk.Reference(m5m6, (11.145,57.185)))
test3.add(gdstk.Reference(m4m5, (15.84,64.14)))
test3.add(gdstk.Reference(m5m6, (15.84,64.14)))
test3.add(gdstk.Label('d', (5.15,58.165), layer=136, texttype=0))
test3.add(gdstk.Label('out', (11.145,57.185), layer=136, texttype=0))
test3.add(gdstk.Label('clk', (15.845,64.14), layer=136, texttype=0))
test3.add(gdstk.Label('b', (0.78,61.635), layer=136, texttype=0))
test3.add(gdstk.Label('a', (-0.555,64.385), layer=136, texttype=0))
test3.add(gdstk.Label('ground', (8.535,52.565), layer=131, texttype=0))
test3.add(gdstk.Label('VDD', (8.535,69.785), layer=131, texttype=0))

lib.write_gds('test3.gds')
